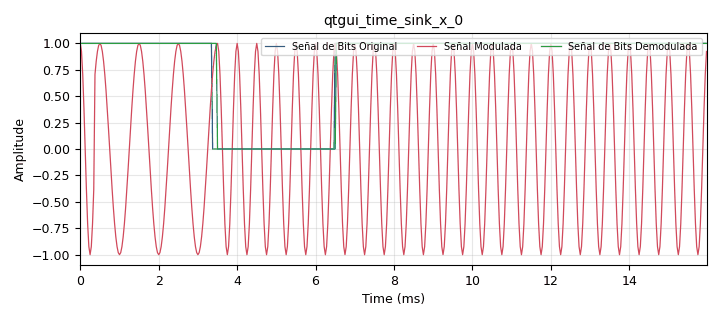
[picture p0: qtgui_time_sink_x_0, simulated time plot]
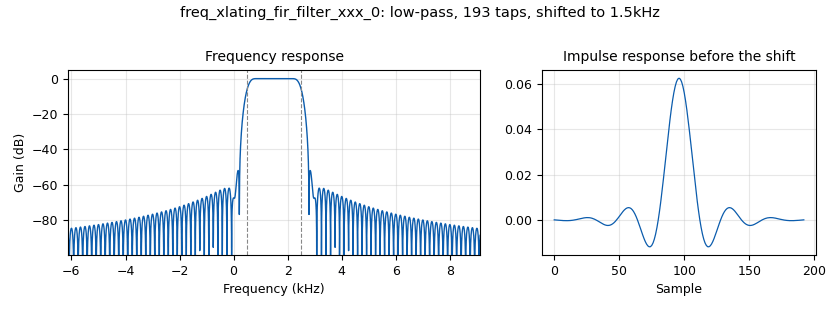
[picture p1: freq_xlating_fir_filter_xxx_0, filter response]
options:
  parameters:
    author: Camila Vinza
    copyright: '@CamiVinza'
    generate_options: qt_gui
    id: default
    output_language: python
    title: FSK_Modulation
  states: {}

blocks:
- name: delay
  id: variable_qtgui_range
  parameters:
    label: Retardo
    start: '0'
    step: '1'
    stop: '250'
    value: '96'
  states: {}
- name: fsk_deviation
  id: variable
  parameters:
    value: '500'
  states: {}
- name: rb
  id: variable
  parameters:
    value: '32000'
  states: {}
- name: analog_const_source_x_0
  id: analog_const_source_x
  parameters:
    const: '1'
    type: float
  states: {}
- name: analog_quadrature_demod_cf_1
  id: analog_quadrature_demod_cf
  parameters:
    gain: rb/(2*math.pi*fsk_deviation)
  states: {}
- name: analog_random_source_x_0
  id: analog_random_source_x
  parameters:
    max: '2'
    min: '0'
    num_samps: int(1e3)
    repeat: 'True'
    type: byte
  states: {}
- name: blocks_add_xx_0
  id: blocks_add_xx
  parameters:
    comment: FIN MODULACIÓN
    type: float
  states: {}
- name: blocks_char_to_float_0
  id: blocks_char_to_float
  parameters:
    scale: '1'
  states: {}
- name: blocks_char_to_float_1
  id: blocks_char_to_float
  parameters:
    scale: '1'
  states: {}
- name: blocks_delay_0
  id: blocks_delay
  parameters:
    delay: int(delay)
    type: float
  states: {}
- name: blocks_repeat_0
  id: blocks_repeat
  parameters:
    interp: '100'
    type: byte
  states: {}
- name: blocks_sub_xx_0
  id: blocks_sub_xx
  parameters:
    comment: Inversor de la Señal
    type: float
  states: {}
- name: digital_binary_slicer_fb_0
  id: digital_binary_slicer_fb
  parameters: {}
  states: {}
- name: freq_xlating_fir_filter_xxx_0
  id: freq_xlating_fir_filter_xxx
  parameters:
    center_freq: int(1.5e3)
    decim: '1'
    samp_rate: rb
    taps: ' firdes.low_pass(1,rb,1000, 400)'
    type: fcf
  states: {}
- name: import_0
  id: import
  parameters:
    imports: import numpy as np
  states: {}
- name: import_0_0
  id: import
  parameters:
    imports: import math
  states: {}
- name: multiply1
  id: blocks_multiply_xx
  parameters:
    type: float
  states: {}
- name: multiply2
  id: blocks_multiply_xx
  parameters:
    type: float
  states: {}
- name: primera_portadora
  id: analog_sig_source_x
  parameters:
    amp: '1'
    comment: 'PORTADORA 1: 2Khz'
    freq: int(2e3)
    offset: '0'
    phase: '0'
    samp_rate: rb
    type: float
    waveform: analog.GR_COS_WAVE
  states: {}
- name: qtgui_time_sink_x_0
  id: qtgui_time_sink_x
  parameters:
    autoscale: 'True'
    ctrlpanel: 'True'
    label1: Señal de Bits Original
    label2: Señal Modulada
    label3: Señal de Bits Demodulada
    nconnections: '3'
    size: '512'
    srate: rb
    type: float
    update_time: '0.50'
  states: {}
- name: segunda_portadora
  id: analog_sig_source_x
  parameters:
    amp: '1'
    comment: 'PORTADORA 2: 1Khz'
    freq: int(1e3)
    offset: '0'
    phase: '0'
    samp_rate: rb
    type: float
    waveform: analog.GR_COS_WAVE
  states: {}
- name: virtual_sink_0
  id: virtual_sink
  parameters:
    stream_id: tag1
  states: {}
- name: virtual_sink_0_0
  id: virtual_sink
  parameters:
    stream_id: tag2
  states: {}
- name: virtual_sink_1
  id: virtual_sink
  parameters:
    stream_id: fsk_demodulada
  states: {}
- name: virtual_sink_2
  id: virtual_sink
  parameters:
    stream_id: fsk_modulada
  states: {}
- name: virtual_source_0
  id: virtual_source
  parameters:
    stream_id: tag1
  states: {}
- name: virtual_source_0_0
  id: virtual_source
  parameters:
    stream_id: tag2
  states: {}
- name: virtual_source_1
  id: virtual_source
  parameters:
    comment: INICIO DEMODULACIÓN
    stream_id: fsk_modulada
  states: {}
- name: virtual_source_2
  id: virtual_source
  parameters:
    stream_id: fsk_demodulada
  states: {}

connections:
- [analog_const_source_x_0, '0', blocks_sub_xx_0, '1']
- [analog_quadrature_demod_cf_1, '0', digital_binary_slicer_fb_0, '0']
- [analog_random_source_x_0, '0', blocks_repeat_0, '0']
- [blocks_add_xx_0, '0', qtgui_time_sink_x_0, '1']
- [blocks_add_xx_0, '0', virtual_sink_2, '0']
- [blocks_char_to_float_0, '0', blocks_sub_xx_0, '0']
- [blocks_char_to_float_0, '0', virtual_sink_0, '0']
- [blocks_char_to_float_1, '0', virtual_sink_1, '0']
- [blocks_delay_0, '0', qtgui_time_sink_x_0, '0']
- [blocks_repeat_0, '0', blocks_char_to_float_0, '0']
- [blocks_sub_xx_0, '0', virtual_sink_0_0, '0']
- [digital_binary_slicer_fb_0, '0', blocks_char_to_float_1, '0']
- [freq_xlating_fir_filter_xxx_0, '0', analog_quadrature_demod_cf_1, '0']
- [multiply1, '0', blocks_add_xx_0, '0']
- [multiply2, '0', blocks_add_xx_0, '1']
- [primera_portadora, '0', multiply1, '1']
- [segunda_portadora, '0', multiply2, '1']
- [virtual_source_0, '0', blocks_delay_0, '0']
- [virtual_source_0, '0', multiply1, '0']
- [virtual_source_0_0, '0', multiply2, '0']
- [virtual_source_1, '0', freq_xlating_fir_filter_xxx_0, '0']
- [virtual_source_2, '0', qtgui_time_sink_x_0, '2']

metadata:
  file_format: 1
  grc_version: 3.10.8.0
